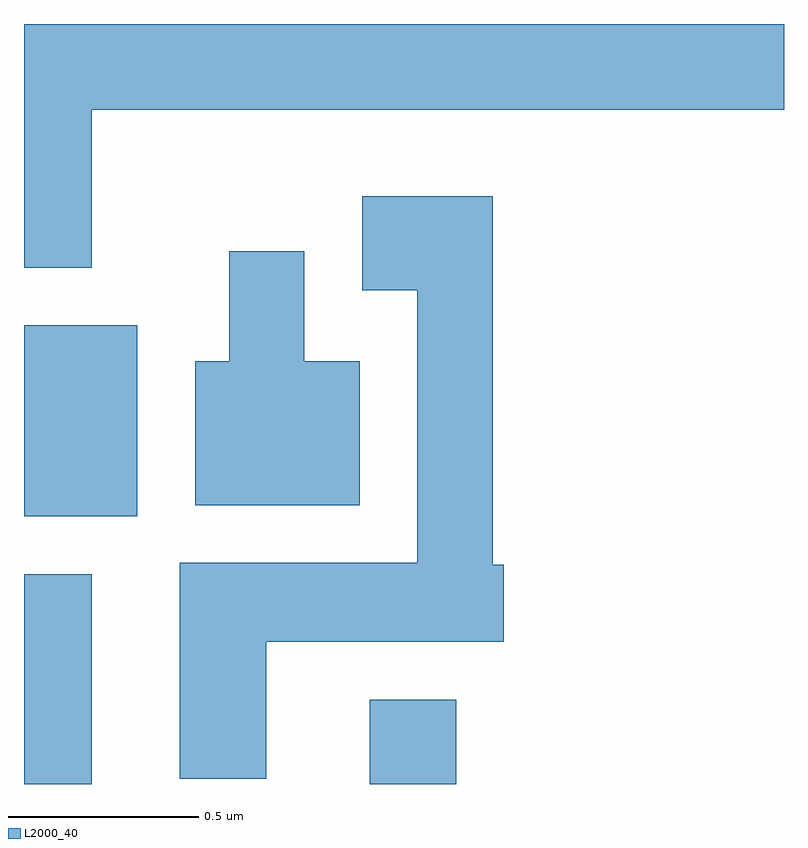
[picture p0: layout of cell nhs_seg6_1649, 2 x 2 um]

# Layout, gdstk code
import gdstk
lib = gdstk.Library(unit=1e-6, precision=1e-09)
def R(c, l, rs):  # rectangles x0, y0, x1, y1
    for r in rs: c.add(gdstk.rectangle(r[:2], r[2:], *l))
def P(c, l, *ps):  # polygons
    for p in ps: c.add(gdstk.Polygon(p, *l))
L2000_40 = (2000, 40)

nhs_seg6_1649 = lib.new_cell('nhs_seg6_1649')
R(nhs_seg6_1649, L2000_40, [(197.611,1537.162,197.789,1537.714), (198.521,1537.162,198.749,1537.384), (197.611,1537.866,197.909,1538.369)])
P(nhs_seg6_1649, L2000_40, [(197.789,1538.936),(199.611,1538.936),(199.611,1539.162),(197.611,1539.162),(197.611,1538.521),(197.789,1538.521)],
  [(198.249,1537.536),(198.874,1537.536),(198.874,1537.739),(198.844,1537.739),(198.844,1538.709),(198.501,1538.709),(198.501,1538.461),(198.646,1538.461),(198.646,1537.744),(198.021,1537.744),(198.021,1537.176),(198.249,1537.176)],
  [(198.494,1538.274),(198.349,1538.274),(198.349,1538.564),(198.151,1538.564),(198.151,1538.274),(198.061,1538.274),(198.061,1537.896),(198.494,1537.896)])

lib.write_gds('nhs_seg6_1649.gds')
